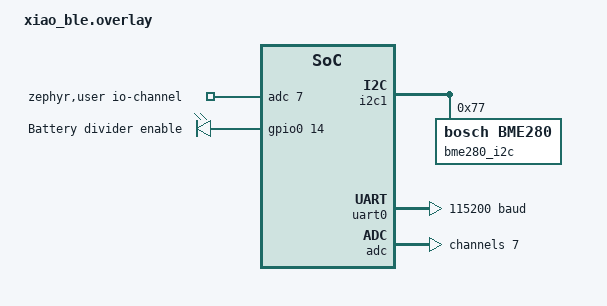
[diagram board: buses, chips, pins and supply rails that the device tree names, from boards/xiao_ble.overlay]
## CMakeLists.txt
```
cmake_minimum_required(VERSION 3.20.0)
find_package(Zephyr REQUIRED HINTS $ENV{ZEPHYR_BASE})

project(kclock-sensor LANGUAGES C)

target_sources(app PRIVATE
    src/main.c
    src/ble.c
    src/sensor.c
    src/power.c
    src/mac.c
    src/blinky.c
)

target_include_directories(app PRIVATE src)
```

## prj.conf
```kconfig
# Project configuration for `firmware/outdoor-sensor/app`.
#
# Adds Bluetooth LE + USB-CDC console + BME280 sensor driver on top
# of the board defaults for `xiao_ble` (Zephyr 3.7 LTS — Seeed
# XIAO nRF52840 registers under the legacy `xiao_ble` board name).

# Bluetooth LE core and role
CONFIG_BT=y
CONFIG_BT_PERIPHERAL=y
CONFIG_BT_DEVICE_NAME="kclock"

# I²C bus + BME280 sensor driver bound via DT_ALIAS(bme280). The
# BME280 driver takes transport (I²C vs SPI) from the devicetree
# and does not need a separate CONFIG_BME280_I2C=y in Zephyr 3.7.
CONFIG_I2C=y
CONFIG_SENSOR=y
CONFIG_BME280=y

# SAADC for the battery-rail ADC read. Reports the raw 12-bit count
# to BLE — scaling to volts happens when the divider + battery rail
# are wired on the bench (see src/sensor.c kclock_sensor_read_battery_raw).
CONFIG_ADC=y

# Console / printk output. We deliberately drive printk over the
# XIAO's external UART0 pads (P1.11 TX / P1.12 RX) instead of the
# on-board USB-CDC port. Two reasons:
#
#   - On host Linux, the CDC-ACM endpoint can stick in a half-open
#     state across an XIAO reset, swallowing subsequent console
#     output until the user unplugs/replugs or `udevadm trigger`.
#     A USB-serial FTDI / CP2102 / CH340 adapter wired to P1.11 / P1.12
#     re-enumerates cleanly on every reset.
#   - The CDC port is then free for the BLE HCI trace + mcumgr
#     transport (`zephyr,bt-c2h-uart = &usb_cdc_acm_uart` in the
#     overlay) so the two streams do not share a single physical
#     endpoint.
#
# Console routing (which UART, which pins) is set in the overlay
# via `chosen { zephyr,console = &uart0; }` and `&uart0 { status }
# { pinctrl-0 = <&uart0_default>; … }`. The board-included
# `uart0_default` pinctrl already maps P1.11 → TX, P1.12 → RX.
CONFIG_CONSOLE=y
CONFIG_SERIAL=y
CONFIG_UART_CONSOLE=y
CONFIG_PRINTK=y

# Keep the USB-CDC device class around for BLE HCI / mcumgr while
# we are not driving printk through it.
CONFIG_USB_DEVICE_STACK=y
CONFIG_USB_CDC_ACM=y

# Logging
CONFIG_LOG=y
CONFIG_LOG_MODE_IMMEDIATE=y
CONFIG_LOG_DEFAULT_LEVEL=3

# UF2 build output for the XIAO bootloader; if this symbol is
# renamed in a later Zephyr revision, remove this line and rely on
# `west flash -r uf2` to convert HEX → UF2 at flash time.
CONFIG_BUILD_OUTPUT_UF2=y
```

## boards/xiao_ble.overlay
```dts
/*
 * Overlay for the Seeed XIAO nRF52840 (board name `xiao_ble`).
 *
 * Three things this overlay does:
 *   1. re-targets the Zephyr printk console from the on-board USB-CDC
 *      to the XIAO's external UART0 pads (P1.11 TX, P1.12 RX).
 *      The host-side adapter is a plain 3.3 V USB-serial dongle
 *      (FTDI / CP2102 / CH340) — see docs/decisions/0007-debug-console-link.md.
 *   2. enables the BME280 via the bme280_i2c alias on &i2c1.
 *   3. leaves the on-board LEDs (`led0` = P0.26 "Red LED",
 *      `led1` = P0.30 "Green LED", `led2` = P0.06 "Blue LED") at
 *      their board-default settings — we reuse led0 for the bring-up
 *      heartbeat in src/blinky.c.
 *
 * The board DTS already provides pinctrl-0 entries for uart0 (TX on
 * P1.11, RX on P1.12), so we just need to drive &uart0 status="okay".
 */

/ {
    aliases {
        bme280 = &bme280_i2c;
    };

    chosen {
        zephyr,console      = &uart0;
        zephyr,shell-uart   = &uart0;
        /* Keep the BLE-controller transport over USB-CDC so we can
         * later run HCI traces / mcumgr without disturbing the
         * external UART debug stream.
         */
        zephyr,bt-c2h-uart  = &usb_cdc_acm_uart;
    };

    /* Battery-rail ADC channel selection: AIN7 on P0.31. The XIAO
     * nRF52840 connector maps this to the D7 pad (also called A7).
     * The actual adc-channel definition lives inside `&adc { … }`
     * below; here we just expose it as the application's
     * `zephyr,user` channel so the DT helper picks it up at compile
     * time.
     */
    zephyr,user {
        io-channels = <&adc 7>;
    };
};

&i2c1 {
    status = "okay";
    /* 0x77: SDO is the high input on the Adafruit BME280 STEMMA QT
     * breakout we use. On that breakout SDO is pulled up by an
     * on-board resistor when the address-select jumper is left
     * open (the default). If a project's jumper is bridged to GND,
     * reg must drop to <0x76>.
     */
    bme280_i2c: bme280@77 {
        compatible = "bosch,bme280";
        reg = <0x77>;
    };
};

&uart0 {
    status = "okay";
    pinctrl-0     = <&uart0_default>;
    pinctrl-1     = <&uart0_sleep>;
    pinctrl-names = "default", "sleep";
    current-speed = <115200>;
};

/* Battery-rail ADC channel definition. The Pi-side firmware dumps
 * the raw 12-bit SAADC count to BLE; the host panel currently
 * displays it as `B: NNNN ADC` without a unit conversion.
 *
 * Hardware assumption: the kclock PCB carries a 1 MΩ / 510 KΩ
 * voltage divider on the battery rail, with the partitioned tap
 * tied to AIN7 (P0.31 / XIAO D7). That ratio is
 *   R_bottom / R_total = 510 / (1000 + 510) ≈ 0.337
 * so a single-cell LiPo running 3.0 V → 4.2 V maps to a tap voltage
 * of 1.01 V → 1.42 V.
 *
 * Scale choice on the nRF52840 SAADC: the hardware only has
 * reference selector bits for `Internal` (0.6 V bandgap) and
 * `VDD1/4`. Anything finer and Zephyr's nrfx-saadc adapter
 * returns -EINVAL. To widen effective full-scale beyond 0.825 V
 * we leverage the SAADC's gain register:
 *   gain     = ADC_GAIN_1_6  (enumeration position 0, hardware
 *                              register value 0 = factor 1/6)
 *   reference = ADC_REF_VDD_1_4 (Vref = VDD/4 = 0.825 V)
 *   full-scale = Vref / gain = 0.825 / (1/6) ≈ 4.95 V
 *
 * Companion GPIO pin: the divider's hi-leg is gated by a MOSFET
 * that's enabled by driving P0.14 to output-low (per the klock
 * schematic). Until we drive it low the divider's reference is
 * pulled to VDD via an internal path, and the SAADC sees 3.3 V
 * instead of 1.32 V — without dropping the throughput, code
 * saturates at 4095. The `bat_enable` gpio node below ties that
 * pin to the sensor layer; sensor.c drives it low before the
 * SAADC channel setup.
 */
&adc {
    #address-cells = <1>;
    #size-cells = <0>;

    channel@7 {
        reg = <7>;
        zephyr,gain = "ADC_GAIN_1_6";
        zephyr,reference = "ADC_REF_VDD_1_4";
        zephyr,acquisition-time = <ADC_ACQ_TIME_DEFAULT>;
        zephyr,input-positive = <NRF_SAADC_AIN7>;
        zephyr,resolution = <12>;
        zephyr,oversampling = <0>;
    };
};

/* Battery-divider enable: P0.14 is a digital control input on
 * the kclock PCB that gates the divider's hi-leg MOSFET. We
 * declare this node under a wrapper that's compatible
 * "gpio-leds", matching the pattern used by led0/led1/led2 in
 * xiao_ble_common.dtsi — but renamed to "bat_leds" so the
 * unused-but-required `&leds` label isn't needed (the board
 * DTS doesn't expose one).
 *
 * sensor.c drives the pin low at boot via
 *   GPIO_DT_SPEC_GET(DT_NODELABEL(bat_enable), gpios).
 */
/ {
    bat_leds {
        compatible = "gpio-leds";
        bat_enable: bat_enable_pin {
            gpios = <&gpio0 14 GPIO_ACTIVE_HIGH>;
            label = "Battery divider enable";
        };
    };
};
```

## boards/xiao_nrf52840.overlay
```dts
/ {
    aliases {
        bme280 = &bme280_i2c;
    };
};

&i2c1 {
    status = "okay";
    bme280_i2c: bme280@76 {
        compatible = "bosch,bme280";
        reg = <0x76>;
        label = "BME280";
    };
};
```

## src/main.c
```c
#include <zephyr/kernel.h>
#include <zephyr/sys/printk.h>

#include "ble.h"
#include "blinky.h"
#include "mac.h"
#include "power.h"
#include "sensor.h"

#ifndef KCLOCK_SENSOR_FW_VERSION
#define KCLOCK_SENSOR_FW_VERSION "v10"
#endif

/* Periodic measurement cadence (ADR 0012): every 15 s the firmware
 * re-samples the BME280 + SAADC and refreshes the advertising
 * payload (T/H/B ride as ESS 0x181A service data) so a passively
 * scanning central sees fresh values without a GATT connection.
 * The GATT service remains advertised connectable for debugging;
 * on connect ble.c still schedules a self-disconnect after 5 s
 * to keep BlueZ state clean for the next debug client.
 */
#define KCLOCK_MEASUREMENT_PERIOD_S  15

static struct k_timer measurement_timer;
static struct k_work  measurement_work;

static void do_sample_and_publish(void)
{
    int16_t  temp_centi = 0;
    uint16_t hum_centi   = 0;
    uint16_t batt_mv    = 0;

    if (kclock_sensor_read(&temp_centi, &hum_centi) == 0) {
        printk("sample: %d.%02d C, %u.%02u %%RH\n",
               temp_centi / 100, temp_centi % 100,
               hum_centi   / 100, hum_centi   % 100);
    } else {
        printk("sample: BME280 read failed; pushing 0.0 values to GATT\n");
    }
    kclock_sensor_read_battery_mv(&batt_mv);
    printk("sample: battery = %u mV\n", batt_mv);
    kclock_ble_set_readings(temp_centi, hum_centi, batt_mv);
}

static void on_measurement_work(struct k_work *work)
{
    do_sample_and_publish();
    int err = kclock_ble_arm_advertising();
    if (err == -EALREADY) {
        printk("periodic wake: advertising already on\n");
    } else if (err) {
        printk("periodic wake: arm advertising err=%d\n", err);
    }
}

static void on_measurement_timer(struct k_timer *t)
{
    k_work_submit(&measurement_work);
}

int main(void)
{
    printk("kitchen-clock sensor firmware: boot %s\n",
           KCLOCK_SENSOR_FW_VERSION);

    kclock_mac_print();

    int err = kclock_sensor_init();
    if (err) {
        printk("sensor init failed: %d (continuing — BLE works anyway)\n",
               err);
    }

    err = kclock_ble_init();
    if (err) {
        printk("BLE init failed: %d\n", err);
        return 0;
    }

    /* Boot-time sample so a connect at startup still hits a populated
     * GATT database before the first periodic wake fires (every
     * KCLOCK_MEASUREMENT_PERIOD_S).
     */
    do_sample_and_publish();

    kclock_power_init();

    int blinky_err = kclock_blinky_init();
    if (blinky_err) {
        printk("blinky init failed: %d (continuing without LED)\n",
               blinky_err);
    }

    /* Periodic measurement: timer fires every 15 s on the system
     * work queue. Each wake re-samples BME280 + SAADC and refreshes
     * the broadcast payload so passive scanners see fresh data.
     */
    k_work_init(&measurement_work, on_measurement_work);
    k_timer_init(&measurement_timer, on_measurement_timer, NULL);
    k_timer_start(&measurement_timer,
                  K_SECONDS(KCLOCK_MEASUREMENT_PERIOD_S),
                  K_SECONDS(KCLOCK_MEASUREMENT_PERIOD_S));

    printk("kitchen-clock sensor firmware: idle "
           "(periodic measurement every %d s, broadcast payload "
           "+ auto-disconnect)\n",
           KCLOCK_MEASUREMENT_PERIOD_S);

    /* Idle forever; the periodic timer and BLE connection callbacks
     * drive subsequent work from here. */
    while (1) {
        k_msleep(1000);
    }

    return 0;
}
```

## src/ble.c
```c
#include "ble.h"

#include <zephyr/bluetooth/addr.h>
#include <zephyr/bluetooth/bluetooth.h>
#include <zephyr/bluetooth/conn.h>
#include <zephyr/bluetooth/gatt.h>
#include <zephyr/bluetooth/hci.h>
#include <zephyr/bluetooth/uuid.h>
#include <zephyr/kernel.h>
#include <zephyr/sys/byteorder.h>
#include <zephyr/sys/printk.h>
#include <errno.h>
#include <string.h>

/*
 * Local-name format: "kclock-AB" where AB is the last byte of
 * the public BLE address rendered as two hex digits.
 */
#define KCLOCK_LOCAL_NAME_MAX  sizeof("kclock-XXXX")

/*
 * Custom 128-bit service UUID. The first four bytes spell "kclk"
 * (0x6b 0x63 0x6c 0x6b) so they are recognisable in a hex dump.
 *
 *   Service:        6b 63 6c 6b - 00 01 - 00 00 -
 *                   00 00 - 00 00 00 00 00 01
 *   Battery-raw:    6b 63 6c 6b - 00 01 - 00 00 -
 *                   00 00 - 00 00 00 00 00 02
 *
 * The "battery-raw" characteristic carries the kclock SAADC reading
 * (a 12-bit raw count) until we drop in a divider formula and call
 * it millivolts. The Pi-side panel renders the value without unit
 * conversion, prefixing it with "B: N ADC" so the user is honest
 * about what we're shipping.
 *
 * Temperature and Humidity share the same primary service but use
 * the standard Bluetooth SIG Environmental-Sensing-Service
 * characteristic UUIDs (0x2A6E, 0x2A6F) so any BLE scanner
 * recognises them. Their encodings follow the SIG specification:
 * int16 at 0.01 °C, uint16 at 0.01 %RH. The "centi" values from
 * kclock_sensor_read() are a direct drop-in for those encodings.
 *
 * We declare the 128-bit UUID structs directly (instead of via
 * BT_UUID_DECLARE_128) because in Zephyr 3.7 that macro produces a
 * compound literal that GCC 12 treats as a non-constant
 * initializer inside the static BT_GATT_SERVICE_DEFINE block.
 */
static const struct bt_uuid_128 kclock_svc_uuid = {
    .uuid = { .type = BT_UUID_TYPE_128 },
    .val = {
        0x6b, 0x63, 0x6c, 0x6b, 0x00, 0x01, 0x00, 0x00,
        0x00, 0x00, 0x00, 0x00, 0x00, 0x00, 0x00, 0x01
    }
};
static const struct bt_uuid_128 kclock_batt_raw_uuid = {
    .uuid = { .type = BT_UUID_TYPE_128 },
    .val = {
        0x6b, 0x63, 0x6c, 0x6b, 0x00, 0x01, 0x00, 0x00,
        0x00, 0x00, 0x00, 0x00, 0x00, 0x00, 0x00, 0x02
    }
};

static char         local_name[KCLOCK_LOCAL_NAME_MAX];
static int16_t      last_temp_centi;
static uint16_t     last_hum_centi;
static uint16_t     last_batt_mv;

/*
 * Broadcast payload (ADR 0012): the same T/H/B values that ride
 * the GATT characteristics are also embedded in the advertising
 * packet as Environmental-Sensing service data (UUID16 0x181A).
 * The panel's central then updates by passive scanning and never
 * opens a GATT connection at all — the connect/disconnect churn
 * that repeatedly wedged BlueZ/dbus on the Pi Zero W disappears
 * entirely. The GATT service stays advertised connectable for
 * nRF-Connect-style debugging.
 *
 * Service-data element layout (little-endian, mirroring the GATT
 * characteristic encodings):
 *   bytes 0-1   UUID16 0x181A (ESS), little-endian
 *   byte  2     flags / firmware-version marker (0xNN = vNN)
 *   bytes 3-4   temperature, int16 centi-°C  (0.01 °C)
 *   bytes 5-6   humidity,    uint16 centi-%RH (0.01 %RH)
 *   bytes 7-8   battery,    uint16 millivolts (firmware v10's
 *               linear SAADC calibration: 1102 ticks = 4010 mV;
 *               0 = "no data")
 *
 * Keep the flags byte in sync with KCLOCK_SENSOR_FW_VERSION in
 * main.c so a scanner can tell which payload generation it is
 * hearing.
 *
 * The ESS UUID also rides a "complete list of 16-bit service
 * UUIDs" element (AD type 0x03) — that is the element BlueZ's
 * SetDiscoveryFilter(UUIDs=…) matches against (empirically, on
 * BlueZ 5.72/5.82 the service-data UUID alone is NOT matched),
 * so the panel's server-side discovery filter keeps neighbour
 * devices off D-Bus entirely.
 */
#define ESS_SVC_DATA_LEN  9      /* 2-byte UUID16 + 7-byte payload */
#define KCLOCK_BROADCAST_FLAGS  0x0A    /* firmware v10 */

static uint8_t svc_data[ESS_SVC_DATA_LEN] = {
    0x1a, 0x18,                    /* UUID16 0x181A, little-endian */
    KCLOCK_BROADCAST_FLAGS,
    0x00, 0x00,                    /* temperature */
    0x00, 0x00,                    /* humidity */
    0x00, 0x00,                    /* battery */
};

/* Complete list of 16-bit service UUIDs — just the ESS UUID. */
static const uint8_t svc_uuid16[] = { 0x1a, 0x18 };

/*
 * Connection-window model — auto-disconnect after 5 s of accepted
 * connection. This is the firmware-side half of the lockout fix
 * described in commit `6c90bf2`'s bowl-out comment: bluez caches a
 * phantom `Connected: yes` if the peripheral *never* ends the link,
 * so the next central-side connect attempt quietly dies inside bleed's
 * conn-acquire path. We schedule a self-disconnect after a grace
 * period that's long enough for one full read ticker of three chars
 * but short enough that the next wake window has a clean slate.
 */
static struct bt_conn  *current_conn;
#define CONN_WINDOW_S  5

static void schedule_disconnect(struct k_work *work);
K_WORK_DELAYABLE_DEFINE(disconnect_work, schedule_disconnect);

static void schedule_disconnect(struct k_work *work)
{
    if (current_conn) {
        printk("BLE: conn window elapsed; "
               "self-disconnect to clear BlueZ state\n");
        bt_conn_disconnect(current_conn,
                           BT_HCI_ERR_REMOTE_USER_TERM_CONN);
    }
}

static ssize_t read_temp_cb(struct bt_conn *conn,
                            const struct bt_gatt_attr *attr,
                            void *buf, uint16_t len, uint16_t offset)
{
    return bt_gatt_attr_read(conn, attr, buf, len, offset,
                             &last_temp_centi, sizeof(last_temp_centi));
}

static ssize_t read_hum_cb(struct bt_conn *conn,
                           const struct bt_gatt_attr *attr,
                           void *buf, uint16_t len, uint16_t offset)
{
    return bt_gatt_attr_read(conn, attr, buf, len, offset,
                             &last_hum_centi, sizeof(last_hum_centi));
}

static ssize_t read_batt_cb(struct bt_conn *conn,
                            const struct bt_gatt_attr *attr,
                            void *buf, uint16_t len, uint16_t offset)
{
    return bt_gatt_attr_read(conn, attr, buf, len, offset,
                             &last_batt_mv, sizeof(last_batt_mv));
}

BT_GATT_SERVICE_DEFINE(kclock_svc,
    BT_GATT_PRIMARY_SERVICE(&kclock_svc_uuid.uuid),
    BT_GATT_CHARACTERISTIC(BT_UUID_DECLARE_16(0x2A6E),
                           BT_GATT_CHRC_READ,
                           BT_GATT_PERM_READ,
                           read_temp_cb, NULL, &last_temp_centi),
    BT_GATT_CHARACTERISTIC(BT_UUID_DECLARE_16(0x2A6F),
                           BT_GATT_CHRC_READ,
                           BT_GATT_PERM_READ,
                           read_hum_cb, NULL, &last_hum_centi),
    BT_GATT_CHARACTERISTIC(&kclock_batt_raw_uuid.uuid,
                           BT_GATT_CHRC_READ,
                           BT_GATT_PERM_READ,
                           read_batt_cb, NULL, &last_batt_mv),
);

static struct bt_data ad[] = {
    BT_DATA_BYTES(BT_DATA_FLAGS, (BT_LE_AD_GENERAL | BT_LE_AD_NO_BREDR)),
    BT_DATA(BT_DATA_UUID16_ALL, svc_uuid16, sizeof(svc_uuid16)),
    BT_DATA(BT_DATA_NAME_COMPLETE, local_name, 0),
    BT_DATA(BT_DATA_SVC_DATA16, svc_data, sizeof(svc_data)),
};

static void on_connected(struct bt_conn *conn, uint8_t err)
{
    if (err) {
        printk("BLE conn failed: 0x%02x\n", err);
        return;
    }
    char addr_str[BT_ADDR_LE_STR_LEN];
    bt_addr_le_to_str(bt_conn_get_dst(conn), addr_str, sizeof(addr_str));
    printk("BLE connected: %s (advertising as %s)\n", addr_str, local_name);

    current_conn = conn;
    /* Auto-disconnect after CONN_WINDOW_S seconds — this is the
     * lockout-fixing half of the firmware. Without it BlueZ caches
     * a phantom `Connected: yes` until the radio drops and the
     * next connect attempt silently fails. Kicking our own link
     * cleans that cache and re-arms the scanner. */
    k_work_schedule_for_queue(&k_sys_work_q, &disconnect_work,
                               K_SECONDS(CONN_WINDOW_S));
}

static void on_disconnected(struct bt_conn *conn, uint8_t reason)
{
    printk("BLE disconnected: reason 0x%02x\n", reason);
    if (current_conn == conn) {
        current_conn = NULL;
    }
    /* Re-arm advertising so the next central-side query finds us
     * immediately during the same window. Periodic timer below
     * re-arms every 30 s too; this near-instant re-arm is only
     * needed after a self-disconnect. */
    int err = bt_le_adv_start(BT_LE_ADV_CONN, ad, ARRAY_SIZE(ad),
                              NULL, 0);
    if (err && err != -EALREADY) {
        printk("BLE: re-arm advertising after disconnect failed "
               "(err=%d)\n", err);
    } else {
        printk("BLE: advertising re-armed after disconnect\n");
    }
}

BT_CONN_CB_DEFINE(conn_callbacks) = {
    .connected    = on_connected,
    .disconnected = on_disconnected,
};

static void set_local_name_from_addr(const bt_addr_le_t *addr)
{
    /* BT_ADDR_SIZE defined in <zephyr/bluetooth/addr.h>; = 6. */
    uint8_t last_byte = addr->a.val[BT_ADDR_SIZE - 1];
    int n = snprintf(local_name, sizeof(local_name),
                     "kclock-%02x", last_byte);
    if (n > 0 && n < (int)sizeof(local_name)) {
        ad[1].data_len = (uint8_t)n;
    } else {
        ad[1].data_len = (uint8_t)(sizeof(local_name) - 1);
    }
}

int kclock_ble_init(void)
{
    int err;

    /* In Zephyr 3.7 `bt_id_get()` only returns valid addresses AFTER
     * `bt_enable()` has finished initialising the controller. So
     * the order is: enable, then read addresses, then name, then
     * advertise. Calling bt_id_get before bt_enable returns 0
     * addresses, even though there is no fault — it just has not
     * been told anything yet.
     */
    err = bt_enable(NULL);
    if (err) {
        printk("bt_enable failed: %d\n", err);
        return err;
    }

    bt_addr_le_t addrs[CONFIG_BT_ID_MAX];
    size_t        count = ARRAY_SIZE(addrs);

    bt_id_get(addrs, &count);
    if (count == 0) {
        printk("bt_id_get: controller initialised but 0 identities "
               "(check CONFIG_BT_ID_MAX and FICR.NRF_FICR_DEVICEADDR<n>)\n");
        return -ENODEV;
    }

    set_local_name_from_addr(&addrs[0]);

    err = bt_le_adv_start(BT_LE_ADV_CONN, ad, ARRAY_SIZE(ad), NULL, 0);
    if (err) {
        printk("bt_le_adv_start failed: %d\n", err);
        return err;
    }

    printk("BLE ready: name=%s\n", local_name);
    for (size_t i = 0; i < count; i++) {
        if (addrs[i].type != BT_ADDR_LE_PUBLIC) {
            continue;
        }
        printk("BLE addr[%zu] = %02x:%02x:%02x:%02x:%02x:%02x\n",
               i,
               addrs[i].a.val[5], addrs[i].a.val[4], addrs[i].a.val[3],
               addrs[i].a.val[2], addrs[i].a.val[1], addrs[i].a.val[0]);
    }

    return 0;
}

void kclock_ble_set_readings(int16_t temp_centiC,
                             uint16_t hum_centi,
                             uint16_t batt_mv)
{
    last_temp_centi = temp_centiC;
    last_hum_centi  = hum_centi;
    last_batt_mv    = batt_mv;

    /* Mirror the values into the broadcast payload and refresh the
     * on-air packet so passive scanners see the new sample without
     * a connection. Stop + start is the portable way to mutate a
     * legacy-advertising payload; the ~ms gap is invisible next to
     * the 15 s measurement cadence. While a GATT debug client is
     * connected, advertising is already stopped, so the stop leg
     * returns -EALREADY and the start leg re-arms as usual.
     */
    sys_put_le16((uint16_t)temp_centiC, &svc_data[3]);
    sys_put_le16(hum_centi, &svc_data[5]);
    sys_put_le16(batt_mv, &svc_data[7]);

    int err = bt_le_adv_stop();
    if (err && err != -EALREADY) {
        printk("BLE: adv stop for payload refresh failed (err=%d)\n",
               err);
    }
    err = bt_le_adv_start(BT_LE_ADV_CONN, ad, ARRAY_SIZE(ad),
                          NULL, 0);
    if (err && err != -EALREADY) {
        printk("BLE: payload refresh re-arm failed (err=%d)\n", err);
    }
}

void kclock_ble_print_local_name(void)
{
    printk("BLE local-name: %s\n", local_name);
}

int kclock_ble_arm_advertising(void)
{
    int err = bt_le_adv_start(BT_LE_ADV_CONN, ad, ARRAY_SIZE(ad),
                              NULL, 0);
    if (err && err != -EALREADY) {
        printk("BLE: arm advertising failed (err=%d)\n", err);
        return err;
    }
    return 0;
}
```

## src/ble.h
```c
#ifndef KCLOCK_BLE_H
#define KCLOCK_BLE_H

#include <stdint.h>

int  kclock_ble_init(void);
void kclock_ble_set_readings(int16_t temp_centiC,
                             uint16_t hum_centi,
                             uint16_t batt_mv);
void kclock_ble_print_local_name(void);

/* Re-arm BLE advertising. Used on each periodic wake window from
 * main.c so a fresh central has a chance to connect even immediately
 * after the firmware self-disconnects at the end of a previous
 * connection window.
 */
int kclock_ble_arm_advertising(void);

#endif /* KCLOCK_BLE_H */
```

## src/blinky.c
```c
#include "blinky.h"

#include <zephyr/drivers/gpio.h>
#include <zephyr/kernel.h>
#include <zephyr/sys/printk.h>

/*
 * P0.26 is the XIAO nRF52840's on-board `led0`, brought in by our
 * overlay reusing the board DTS entry. 250 ms on / 250 ms off
 * → 2 Hz blink, a clear "I'm running" heartbeat that doesn't risk
 * running inside a BLE radio window or the BME280 forced-mode
 * conversion window.
 */
#define BLINK_PERIOD_MS  250u

#if DT_NODE_HAS_STATUS(DT_NODELABEL(led0), okay)
static const struct gpio_dt_spec led = GPIO_DT_SPEC_GET(DT_NODELABEL(led0), gpios);
#else
#error "DT node `led0` is not defined for the XIAO nRF52840 board"
#endif

static struct k_thread blinky_thread;
K_THREAD_STACK_DEFINE(blinky_stack, 512);

static void blinky_entry(void *p1, void *p2, void *p3)
{
    (void)p1; (void)p2; (void)p3;
    while (1) {
        (void)gpio_pin_toggle_dt(&led);
        k_msleep(BLINK_PERIOD_MS);
    }
}

int kclock_blinky_init(void)
{
    int err;

    if (!device_is_ready(led.port)) {
        printk("blinky: gpio device not ready\n");
        return -ENODEV;
    }

    err = gpio_pin_configure_dt(&led, GPIO_OUTPUT_INACTIVE);
    if (err) {
        printk("blinky: gpio_pin_configure_dt failed: %d\n", err);
        return err;
    }

    k_tid_t tid = k_thread_create(&blinky_thread, blinky_stack,
                                  K_THREAD_STACK_SIZEOF(blinky_stack),
                                  blinky_entry, NULL, NULL, NULL,
                                  K_LOWEST_APPLICATION_THREAD_PRIO, 0,
                                  K_FOREVER);
    k_thread_name_set(tid, "blinky");
    k_thread_start(tid);

    printk("blinky: thread running (P0.26, %u ms period)\n",
           (unsigned)BLINK_PERIOD_MS);
    return 0;
}
```

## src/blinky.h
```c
#ifndef KCLOCK_BLINKY_H
#define KCLOCK_BLINKY_H

/*
 * Configure the XIAO nRF52840's green on-board LED (P0.26) as a
 * GPIO output and spawn a Zephyr thread that toggles it every
 * 250 ms.
 *
 * Returns 0 on success, or a negative errno on GPIO/thread setup
 * failure. Failure is non-fatal — main() logs it but does not
 * abort, so the rest of the bring-up still runs.
 */
int kclock_blinky_init(void);

#endif /* KCLOCK_BLINKY_H */
```

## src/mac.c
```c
#include "mac.h"

#include <zephyr/bluetooth/bluetooth.h>
#include <zephyr/bluetooth/hci.h>
#include <zephyr/kernel.h>
#include <zephyr/sys/printk.h>

/* Print the public BLE address(es) to the console.
 *
 * In Zephyr 3.7 `bt_id_get()` returns 0 addresses until
 * `bt_enable()` has been called — the BT host stack populates the
 * identity table as part of controller init. Calling this before
 * `kclock_ble_init()` would print a misleading "zero addresses"
 * message; the function is kept as a thin wrapper for callers that
 * have already brought up the controller (e.g. for symmetry with
 * other diagnostics), but at the moment the BLE address is printed
 * from inside `kclock_ble_init()` itself, immediately after the
 * controller reports an identity count > 0.
 *
 * bt_id_get() in Zephyr 3.7 also returns `void` (instead of the
 * older `int` status code); output is delivered through the
 * pointers.
 */
void kclock_mac_print(void)
{
    bt_addr_le_t addrs[CONFIG_BT_ID_MAX];
    size_t        count = ARRAY_SIZE(addrs);

    bt_id_get(addrs, &count);
    if (count == 0) {
        printk("MAC: 0 addresses (controller not yet initialised)\n");
        return;
    }

    for (size_t i = 0; i < count; i++) {
        if (addrs[i].type != BT_ADDR_LE_PUBLIC) {
            continue;
        }
        printk("MAC[%zu]: %02x:%02x:%02x:%02x:%02x:%02x\n",
               i,
               addrs[i].a.val[5], addrs[i].a.val[4], addrs[i].a.val[3],
               addrs[i].a.val[2], addrs[i].a.val[1], addrs[i].a.val[0]);
    }
}
```

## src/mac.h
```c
#ifndef KCLOCK_MAC_H
#define KCLOCK_MAC_H

void kclock_mac_print(void);

#endif /* KCLOCK_MAC_H */
```

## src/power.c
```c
#include "power.h"

#include <zephyr/kernel.h>
#include <zephyr/sys/printk.h>

/* Deep-sleep cadence implementation deferred to a follow-up step.
 * For the BLE bring-up milestone the firmware stays awake; the
 * sleep tuning lands once the phone scanner sees the device and
 * the user confirms the GATT reads.
 *
 * What the eventual implementation will do:
 *   - sleep until next measurement interval (e.g. 30 s)
 *   - on wake: trigger BME280 single-shot, push to GATT, advertise,
 *     return to sleep
 *   - keep BLE in sleep on average; only wake the radio for a brief
 *     advertising window every interval
 * Target average current ~30 µA on a 26650 Li-Ion cell.
 */
void kclock_power_init(void)
{
    printk("power: stub — deep-sleep not implemented yet\n");
}
```

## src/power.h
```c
#ifndef KCLOCK_POWER_H
#define KCLOCK_POWER_H

void kclock_power_init(void);

#endif /* KCLOCK_POWER_H */
```

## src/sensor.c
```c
#include "sensor.h"

#include <zephyr/device.h>
#include <zephyr/drivers/adc.h>
#include <zephyr/drivers/gpio.h>
#include <zephyr/drivers/sensor.h>
#include <zephyr/kernel.h>
#include <zephyr/sys/printk.h>

#if DT_NODE_HAS_STATUS(DT_ALIAS(bme280), okay)
static const struct device *const bme280 = DEVICE_DT_GET(DT_ALIAS(bme280));
#endif

/* zephyr,user io-channel: see boards/xiao_ble.overlay for the
 * pinctrl mapping. We pull the chosen phandle there so the SAADC
 * initialiser doesn't need to know which pin we're using.
 */
#if DT_NODE_HAS_STATUS(DT_PATH(zephyr_user), okay)
static const struct adc_dt_spec adc_batt = ADC_DT_SPEC_GET(DT_PATH(zephyr_user));
#endif

/* Battery-divider enable GPIO. Mirrors blinky.c's pattern: a
 * child node under &leds (gpio-leds compatible) carries a gpios
 * specifier. We configure it as output and drive low so the
 * kclock PCB's analog path through the divider MOSFET becomes
 * active. Pin P0.14 on the XIAO nRF52840.
 *
 * If the schematic is a P-MOSFET rather than our sink-side
 * N-mosfet, replace `gpio_pin_set_dt(&bat_enable, 0)` with
 * `gpio_pin_set_dt(&bat_enable, 1)` to drive the gate high.
 */
#if DT_NODE_HAS_STATUS(DT_NODELABEL(bat_enable), okay)
static const struct gpio_dt_spec bat_enable =
    GPIO_DT_SPEC_GET(DT_NODELABEL(bat_enable), gpios);
#endif

int kclock_sensor_init(void)
{
#if DT_NODE_HAS_STATUS(DT_ALIAS(bme280), okay)
    if (!device_is_ready(bme280)) {
        printk("BME280 device not ready\n");
        printk("  expected wiring on the XIAO nRF52840:\n");
        printk("    SDA -> D4 (P0.04)  [maps to &i2c1 in devicetree]\n");
        printk("    SCL -> D5 (P0.05)  [maps to &i2c1 in devicetree]\n");
        printk("    VDD -> 3V3\n");
        printk("    GND -> GND\n");
        printk("    addr 0x77 (Adafruit STEMMA QT, SDO jumper open)\n");
        return -ENODEV;
    }
    printk("BME280 ready\n");
#else
    printk("No bme280 alias in devicetree — sensor reads return zeros\n");
#endif

#if DT_NODE_HAS_STATUS(DT_NODELABEL(bat_enable), okay)
    /* Enable the divider's analog path before the SAADC setup. The
     * gpio-leds-compatible node gives us a usable gpio_dt_spec
     * without needing gpio-hog syntax.
     */
    if (!device_is_ready(bat_enable.port)) {
        printk("BAT-enable GPIO %s.%d not ready — battery reads may be wrong\n",
               bat_enable.port->name, bat_enable.pin);
    } else {
        int err = gpio_pin_configure_dt(&bat_enable, GPIO_OUTPUT);
        if (err) {
            printk("BAT-enable GPIO configure failed: %d\n", err);
        } else {
            err = gpio_pin_set_dt(&bat_enable, 0);
            if (err) {
                printk("BAT-enable GPIO set failed: %d\n", err);
            } else {
                printk("BAT-enable GPIO %s.%d -> low\n",
                       bat_enable.port->name, bat_enable.pin);
            }
        }
    }
    /* Settle the divider's RC before sampling. */
    k_msleep(5);
#else
    printk("No bat_enable GPIO in devicetree — battery rail must "
           "be manually enabled\n");
#endif

#if DT_NODE_HAS_STATUS(DT_PATH(zephyr_user), okay)
    if (!adc_is_ready_dt(&adc_batt)) {
        printk("SAADC device not ready — battery reads will return 0\n");
        printk("  expected divider wiring on the XIAO nRF52840:\n");
        printk("    AIN7 / P0.31 (XIAO D7) <- divider tap (-)\n");
        printk("    divider hi  <- V_BATT_PIN   (user-chosen sense rail)\n");
        printk("    divider lo  <- GND\n");
        return 0;     /* non-fatal: BLE still works */
    }
    int err = adc_channel_setup_dt(&adc_batt);
    if (err < 0) {
        printk("SAADC channel setup failed (%d) — battery reads return 0\n",
               err);
        return 0;
    }
    /* Print the actual gain / reference the Zephyr-side DT
     * helper resolved so we no longer have to guess from a
     * fixed string whether the overlay took effect.
     */
    printk("SAADC ready: %s channel %u, "
           "gain enum=%d (0=ADC_GAIN_1_6, 5=ADC_GAIN_1_2, "
           "etc.), reference enum=%d (3=ADC_REF_VDD_1_4)\n",
           adc_batt.dev->name,
           (unsigned)adc_batt.channel_id,
           (int)adc_batt.channel_cfg.gain,
           (int)adc_batt.channel_cfg.reference);
#else
    printk("No zephyr,user io-channels in devicetree — battery reads "
           "return 0\n");
#endif

    return 0;
}

int kclock_sensor_read(int16_t *temp_centiC, uint16_t *hum_centi)
{
#if DT_NODE_HAS_STATUS(DT_ALIAS(bme280), okay)
    struct sensor_value t = {0};
    struct sensor_value h = {0};

    if (sensor_sample_fetch(bme280) != 0) {
        return -EIO;
    }
    sensor_channel_get(bme280, SENSOR_CHAN_AMBIENT_TEMP, &t);
    sensor_channel_get(bme280, SENSOR_CHAN_HUMIDITY,   &h);

    /* struct sensor_value: .val1 = integer part, .val2 = 1e-6
     * fractional. Convert to centi-units for our GATT encoding.
     */
    int32_t t_centi = (int32_t)t.val1 * 100 + (t.val2 / 10000);
    if (t_centi > INT16_MAX) t_centi = INT16_MAX;
    if (t_centi < INT16_MIN) t_centi = INT16_MIN;
    *temp_centiC = (int16_t)t_centi;

    int32_t h_centi = (int32_t)h.val1 * 100 + (h.val2 / 10000);
    if (h_centi > UINT16_MAX) h_centi = UINT16_MAX;
    *hum_centi = (uint16_t)h_centi;

    return 0;
#else
    *temp_centiC = 0;
    *hum_centi   = 0;
    return -ENODEV;
#endif
}

int kclock_sensor_read_battery_mv(uint16_t *mv_out)
{
#if DT_NODE_HAS_STATUS(DT_PATH(zephyr_user), okay)
    int16_t sample = 0;
    struct adc_sequence seq = {
        .buffer      = &sample,
        /* buffer_size is in BYTES, not samples. */
        .buffer_size = sizeof(sample),
        .channels    = BIT(adc_batt.channel_id),
        .resolution  = 12,
        .oversampling = 0,
    };

    int err = adc_read_dt(&adc_batt, &seq);
    if (err < 0) {
        printk("SAADC read failed (%d) — battery reads return 0\n", err);
        *mv_out = 0;
        return 0;        /* non-fatal: BLE still works */
    }

    /* SAADC returns a signed 12-bit sample centred at 0. We clamp
     * negative noise to the floor at 0 so the host-side decoder
     * keeps its sentinel behaviour (0 means "no data" in Python).
     */
    if (sample < 0) {
        sample = 0;
    }
    if (sample > 4095) {
        sample = 4095;
    }

    /* Ticks → millivolts, linear calibration (bench-measured
     * 2026-10-18, firmware v10): 1102 ticks = 4010 mV, i.e.
     *   mV = ticks × 4010 / 1102   (≈ 3.639 mV per tick)
     * through the 1 MΩ/510 kΩ divider on AIN7 (P0.31) with
     * gain 1/6 and VDD/4 reference (see boards/xiao_ble.overlay).
     * Rounded integer math; a 12-bit sample tops out well below
     * uint16. 0 stays 0 — the "no data" sentinel.
     */
    *mv_out = (uint16_t)(((uint32_t)sample * 4010u + 551u) / 1102u);
    return 0;
#else
    *mv_out = 0;
    return 0;
#endif
}
```

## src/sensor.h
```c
#ifndef KCLOCK_SENSOR_H
#define KCLOCK_SENSOR_H

#include <stdint.h>

int kclock_sensor_init(void);
int kclock_sensor_read(int16_t *temp_centiC, uint16_t *hum_centi);
int kclock_sensor_read_battery_mv(uint16_t *mv_out);

#endif /* KCLOCK_SENSOR_H */
```
